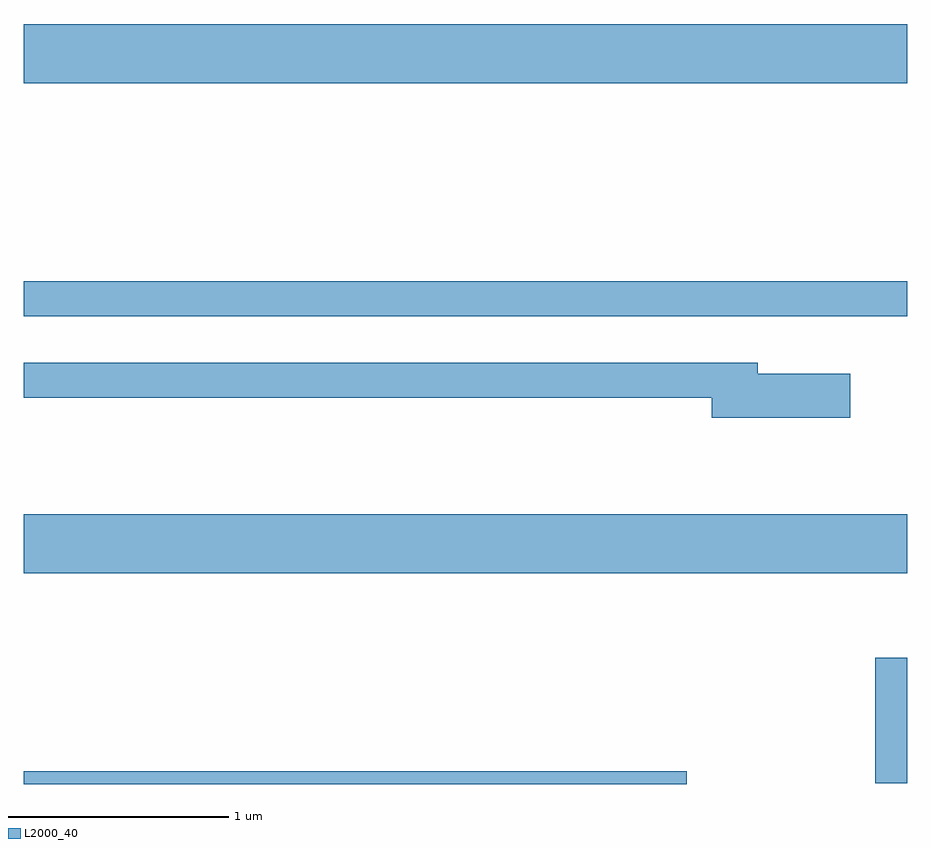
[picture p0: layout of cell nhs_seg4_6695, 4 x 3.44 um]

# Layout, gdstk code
import gdstk
lib = gdstk.Library(unit=1e-6, precision=1e-09)
def R(c, l, rs):  # rectangles x0, y0, x1, y1
    for r in rs: c.add(gdstk.rectangle(r[:2], r[2:], *l))
def P(c, l, *ps):  # polygons
    for p in ps: c.add(gdstk.Polygon(p, *l))
L2000_40 = (2000, 40)

nhs_seg4_6695 = lib.new_cell('nhs_seg4_6695')
R(nhs_seg4_6695, L2000_40, [(381.611,1315.982,384.614,1316.039), (385.466,1315.986,385.611,1316.554), (381.611,1316.936,385.611,1317.204), (381.611,1318.101,385.611,1318.259), (381.611,1319.156,385.611,1319.424)])
P(nhs_seg4_6695, L2000_40, [(385.354,1317.839),(384.934,1317.839),(384.934,1317.889),(381.611,1317.889),(381.611,1317.731),(384.726,1317.731),(384.726,1317.641),(385.354,1317.641)])

lib.write_gds('nhs_seg4_6695.gds')
